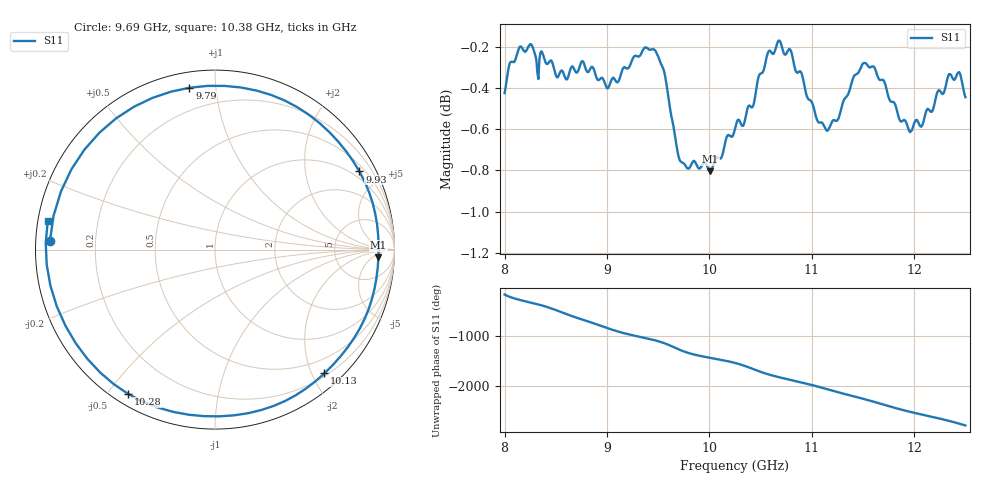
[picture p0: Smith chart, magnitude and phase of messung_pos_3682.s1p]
#  HZ  S  RI  R  50.00
! Rohde & Schwarz Vector Network Analyzer
! Rohde-Schwarz,ZNA43-4Port,1332450044101932,2.92
! Created: UTC 6/1/2026, 11:35:16 AM
! freq[Hz]  re:S11  im:S11
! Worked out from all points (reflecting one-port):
!   451 points, 8 GHz to 12.5 GHz, reference 50 ohm
!   lowest |S11| = -0.8 dB at 10.01 GHz (marker M1), VSWR 21.64, Z = 865 - j433 ohm
!   phase of S11 starts at -170 deg and turns -2630 deg over the sweep
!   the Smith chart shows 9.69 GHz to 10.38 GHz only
!   S11 on the Smith chart (normalised r, x): 9.69 GHz: 0.04, +0.02; 9.79 GHz: 0.08, +0.85; 9.93 GHz: 0.72, +3.82; 10.13 GHz: 0.24, -2.20; 10.28 GHz: 0.04, -0.56; 10.38 GHz: 0.03, +0.09
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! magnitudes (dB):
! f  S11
! 8 GHz  -0.4
! 8.16 GHz  -0.2
! 8.57 GHz  -0.3
! 8.76 GHz  -0.3
! 9 GHz  -0.4
! 9.13 GHz  -0.3
! 9.47 GHz  -0.2
! 9.56 GHz  -0.3
! 9.69 GHz  -0.7
! 9.79 GHz  -0.8
! 9.93 GHz  -0.8
! 10.01 GHz  -0.8
! 10.13 GHz  -0.7
! 10.25 GHz  -0.6
! 10.28 GHz  -0.6
! 10.38 GHz  -0.5
! 10.58 GHz  -0.2
! 10.68 GHz  -0.2
! 10.82 GHz  -0.3
! 11.14 GHz  -0.6
! 11.38 GHz  -0.4
! 11.5 GHz  -0.3
! 11.6 GHz  -0.3
! 11.94 GHz  -0.6
! 12.07 GHz  -0.6
! 12.35 GHz  -0.3
! 12.44 GHz  -0.3
! 12.5 GHz  -0.4
